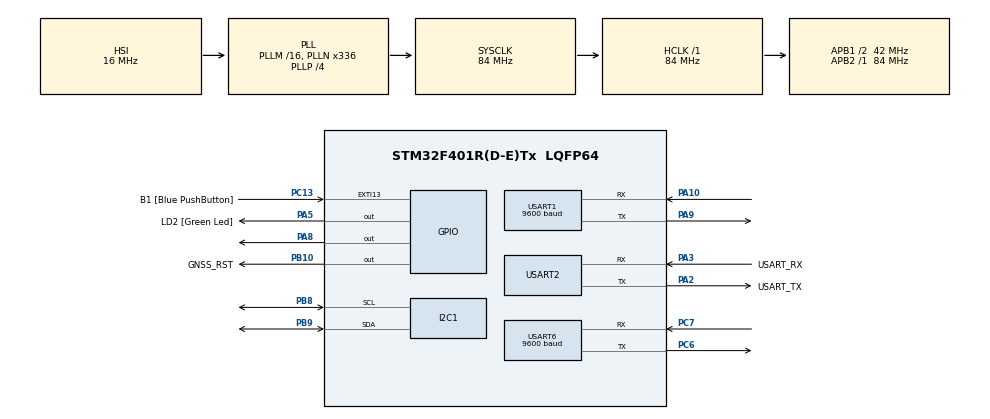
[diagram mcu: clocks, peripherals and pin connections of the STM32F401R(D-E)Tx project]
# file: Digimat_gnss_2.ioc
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Mcu.Family=STM32F4
Mcu.Name=STM32F401R(D-E)Tx
Mcu.Package=LQFP64
NVIC.EXTI15_10_IRQn=true\:0\:0\:false\:false\:true\:true\:true\:true
NVIC.PriorityGroup=NVIC_PRIORITYGROUP_0
PA10.Mode=Asynchronous
PA10.Signal=USART1_RX
PA13.GPIO_Label=TMS
PA13.Mode=Serial_Wire
PA13.Signal=SYS_JTMS-SWDIO
PA14.GPIO_Label=TCK
PA14.Mode=Serial_Wire
PA14.Signal=SYS_JTCK-SWCLK
PA2.GPIO_Label=USART_TX
PA2.GPIO_Mode=GPIO_MODE_AF_PP
PA2.GPIO_PuPd=GPIO_NOPULL
PA2.GPIO_Speed=GPIO_SPEED_FREQ_LOW
PA2.Mode=Asynchronous
PA2.Signal=USART2_TX
PA3.GPIO_Label=USART_RX
PA3.GPIO_Mode=GPIO_MODE_AF_PP
PA3.GPIO_PuPd=GPIO_NOPULL
PA3.GPIO_Speed=GPIO_SPEED_FREQ_LOW
PA3.Mode=Asynchronous
PA3.Signal=USART2_RX
PA5.GPIO_Label=LD2 [Green Led]
PA5.GPIO_Mode=GPIO_MODE_OUTPUT_PP
PA5.GPIO_PuPd=GPIO_NOPULL
PA5.GPIO_Speed=GPIO_SPEED_FREQ_LOW
PA5.Signal=GPIO_Output
PA8.GPIO_Speed=GPIO_SPEED_FREQ_MEDIUM
PA8.PinState=GPIO_PIN_SET
PA8.Signal=GPIO_Output
PA9.Mode=Asynchronous
PA9.Signal=USART1_TX
PB10.GPIO_Label=GNSS_RST
PB10.Signal=GPIO_Output
PB3.GPIO_Label=SWO
PB3.Signal=SYS_JTDO-SWO
PB8.GPIO_Pu=GPIO_PULLUP
PB8.Mode=I2C
PB8.Signal=I2C1_SCL
PB9.GPIO_Pu=GPIO_PULLUP
PB9.Mode=I2C
PB9.Signal=I2C1_SDA
PC13-ANTI_TAMP.GPIO_Label=B1 [Blue PushButton]
PC13-ANTI_TAMP.GPIO_ModeDefaultEXTI=GPIO_MODE_IT_FALLING
PC13-ANTI_TAMP.GPIO_PuPd=GPIO_NOPULL
PC13-ANTI_TAMP.Signal=GPXTI13
PC14-OSC32_IN.Mode=LSE-External-Oscillator
PC14-OSC32_IN.Signal=RCC_OSC32_IN
PC15-OSC32_OUT.Mode=LSE-External-Oscillator
PC15-OSC32_OUT.Signal=RCC_OSC32_OUT
PC6.Mode=Asynchronous
PC6.Signal=USART6_TX
PC7.Mode=Asynchronous
PC7.Signal=USART6_RX
PH0\ -\ OSC_IN.Mode=HSE-External-Clock-Source
PH0\ -\ OSC_IN.Signal=RCC_OSC_IN
PH1\ -\ OSC_OUT.Mode=HSE-External-Clock-Source
PH1\ -\ OSC_OUT.Signal=RCC_OSC_OUT
ProjectManager.HeapSize=0x200
ProjectManager.StackSize=0x400
ProjectManager.TargetToolchain=STM32CubeIDE
RCC.48MHZClocksFreq_Value=48000000
RCC.AHBFreq_Value=84000000
RCC.APB1CLKDivider=RCC_HCLK_DIV2
RCC.APB1Freq_Value=42000000
RCC.APB1TimFreq_Value=84000000
RCC.APB2Freq_Value=84000000
RCC.APB2TimFreq_Value=84000000
RCC.CortexFreq_Value=84000000
RCC.HCLKFreq_Value=84000000
RCC.HSE_VALUE=8000000
RCC.HSI_VALUE=16000000
RCC.PLLN=336
RCC.PLLP=RCC_PLLP_DIV4
RCC.PLLQ=7
RCC.SYSCLKFreq_VALUE=84000000
RCC.SYSCLKSource=RCC_SYSCLKSOURCE_PLLCLK
RCC.VCOOutputFreq_Value=336000000
USART1.BaudRate=9600
USART1.VirtualMode=VM_ASYNC
USART2.VirtualMode=VM_ASYNC
USART6.BaudRate=9600
USART6.VirtualMode=VM_ASYNC
board=NUCLEO-F401RE

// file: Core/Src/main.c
/* USER CODE BEGIN Header */
/**
 ******************************************************************************
 * @file           : main.c
 * @brief          : Main program body
 ******************************************************************************
 * @attention
 *
 * Copyright (c) 2023 STMicroelectronics.
 * All rights reserved.
 *
 * This software is licensed under terms that can be found in the LICENSE file
 * in the root directory of this software component.
 * If no LICENSE file comes with this software, it is provided AS-IS.
 *
 ******************************************************************************
 */
/* USER CODE END Header */
#include "main.h"

I2C_HandleTypeDef hi2c1;

UART_HandleTypeDef huart1;
UART_HandleTypeDef huart2;
UART_HandleTypeDef huart6;

/* USER CODE BEGIN PV */
static const char *gpgll_msg = "$PSTMNMEAREQUEST,100000,0\n\r";
uint8_t read_buf[180];
HAL_StatusTypeDef risp_i2c;

/* USER CODE END PV */

void SystemClock_Config(void);
static void MX_GPIO_Init(void);
static void MX_I2C1_Init(void);
static void MX_USART2_UART_Init(void);
static void MX_USART6_UART_Init(void);
static void MX_USART1_UART_Init(void);

/* USER CODE BEGIN 0 */
void Console_Write(uint8_t *string){
	HAL_UART_Transmit(&huart2, string, strlen((char *)string), 1000);
}
/* USER CODE END 0 */

int main(void)
{

  /* MCU Configuration--------------------------------------------------------*/

  /* Reset of all peripherals, Initializes the Flash interface and the Systick. */
  HAL_Init();

  /* Configure the system clock */
  SystemClock_Config();

  /* Initialize all configured peripherals */
  MX_GPIO_Init();
  MX_I2C1_Init();
  MX_USART2_UART_Init();
  MX_USART6_UART_Init();
  MX_USART1_UART_Init();

  /* Infinite loop */
	while (1)
	{

    /* USER CODE BEGIN 3 */
		HAL_GPIO_WritePin(GNSS_RST_GPIO_Port, GNSS_RST_Pin, 0);
		HAL_Delay(1);
		HAL_GPIO_WritePin(GNSS_RST_GPIO_Port, GNSS_RST_Pin, 1);
		//HAL_Delay(100);
		//HAL_I2C_DeInit(&hi2c1);
		//risp_i2c=HAL_I2C_Init(&hi2c1);
		//Console_Write("Sending commands...");
		//risp_i2c=HAL_I2C_Master_Transmit(&hi2c1, 0x3A << 1, (uint8_t*)gpgll_msg, strlen(gpgll_msg), 2000);
		//Console_Write(" got:... \r\n");
		//for (read_buf[180-1] = 0; read_buf[180-1] != 0xff;) {
		//risp_i2c=HAL_I2C_Master_Receive(&hi2c1, 0x3A << 1, read_buf, 180,2000);

		HAL_UART_Receive (&huart6, read_buf, 180, 1000);
		//HAL_Delay(1);

		for (int i = 0; i < 180; i++) {
			if (read_buf[i] == 'N') {
				// Trovato il carattere 'N'
				//found = 1;

				HAL_UART_Transmit(&huart2, read_buf + i - 11, 7, 1000);
				HAL_UART_Transmit(&huart2, "N,", 2, 1000);
				//Console_Write("\r\n");
				// break;
			}
			if (read_buf[i] == 'E') {
				// Trovato il carattere 'N'
				//found = 1;

				HAL_UART_Transmit(&huart2, read_buf + i - 11, 7, 1000);
				HAL_UART_Transmit(&huart2, "E", 1, 1000);
				//Console_Write("\r\n");
				break;
			}
		}

		//HAL_UART_Transmit(&huart2, read_buf, 180, 1000);
		//}
		//for (int i = 0; i < 180; ++i)
		//if (read_buf[i] != 0xff)
		//risp_i2c=HAL_UART_Transmit(&huart2, &read_buf[i], 1, 1000);
		HAL_UART_Transmit(&huart2, "\r\n", 4, 1000);
		//Console_Write("\r\n");
	}

  /* USER CODE END 3 */
}

void SystemClock_Config(void)
{
  RCC_OscInitTypeDef RCC_OscInitStruct = {0};
  RCC_ClkInitTypeDef RCC_ClkInitStruct = {0};

  /** Configure the main internal regulator output voltage
  */
  __HAL_RCC_PWR_CLK_ENABLE();
  __HAL_PWR_VOLTAGESCALING_CONFIG(PWR_REGULATOR_VOLTAGE_SCALE2);

  /** Initializes the RCC Oscillators according to the specified parameters
  * in the RCC_OscInitTypeDef structure.
  */
  RCC_OscInitStruct.OscillatorType = RCC_OSCILLATORTYPE_HSI;
  RCC_OscInitStruct.HSIState = RCC_HSI_ON;
  RCC_OscInitStruct.HSICalibrationValue = RCC_HSICALIBRATION_DEFAULT;
  RCC_OscInitStruct.PLL.PLLState = RCC_PLL_ON;
  RCC_OscInitStruct.PLL.PLLSource = RCC_PLLSOURCE_HSI;
  RCC_OscInitStruct.PLL.PLLM = 16;
  RCC_OscInitStruct.PLL.PLLN = 336;
  RCC_OscInitStruct.PLL.PLLP = RCC_PLLP_DIV4;
  RCC_OscInitStruct.PLL.PLLQ = 7;
  if (HAL_RCC_OscConfig(&RCC_OscInitStruct) != HAL_OK)
  {
    Error_Handler();
  }

  /** Initializes the CPU, AHB and APB buses clocks
  */
  RCC_ClkInitStruct.ClockType = RCC_CLOCKTYPE_HCLK|RCC_CLOCKTYPE_SYSCLK
                              |RCC_CLOCKTYPE_PCLK1|RCC_CLOCKTYPE_PCLK2;
  RCC_ClkInitStruct.SYSCLKSource = RCC_SYSCLKSOURCE_PLLCLK;
  RCC_ClkInitStruct.AHBCLKDivider = RCC_SYSCLK_DIV1;
  RCC_ClkInitStruct.APB1CLKDivider = RCC_HCLK_DIV2;
  RCC_ClkInitStruct.APB2CLKDivider = RCC_HCLK_DIV1;

  if (HAL_RCC_ClockConfig(&RCC_ClkInitStruct, FLASH_LATENCY_2) != HAL_OK)
  {
    Error_Handler();
  }
}

static void MX_I2C1_Init(void)
{

  hi2c1.Instance = I2C1;
  hi2c1.Init.ClockSpeed = 100000;
  hi2c1.Init.DutyCycle = I2C_DUTYCYCLE_2;
  hi2c1.Init.OwnAddress1 = 0;
  hi2c1.Init.AddressingMode = I2C_ADDRESSINGMODE_7BIT;
  hi2c1.Init.DualAddressMode = I2C_DUALADDRESS_DISABLE;
  hi2c1.Init.OwnAddress2 = 0;
  hi2c1.Init.GeneralCallMode = I2C_GENERALCALL_DISABLE;
  hi2c1.Init.NoStretchMode = I2C_NOSTRETCH_DISABLE;
  if (HAL_I2C_Init(&hi2c1) != HAL_OK)
  {
    Error_Handler();
  }

}

static void MX_USART1_UART_Init(void)
{

  huart1.Instance = USART1;
  huart1.Init.BaudRate = 9600;
  huart1.Init.WordLength = UART_WORDLENGTH_8B;
  huart1.Init.StopBits = UART_STOPBITS_1;
  huart1.Init.Parity = UART_PARITY_NONE;
  huart1.Init.Mode = UART_MODE_TX_RX;
  huart1.Init.HwFlowCtl = UART_HWCONTROL_NONE;
  huart1.Init.OverSampling = UART_OVERSAMPLING_16;
  if (HAL_UART_Init(&huart1) != HAL_OK)
  {
    Error_Handler();
  }

}

static void MX_USART2_UART_Init(void)
{

  huart2.Instance = USART2;
  huart2.Init.BaudRate = 115200;
  huart2.Init.WordLength = UART_WORDLENGTH_8B;
  huart2.Init.StopBits = UART_STOPBITS_1;
  huart2.Init.Parity = UART_PARITY_NONE;
  huart2.Init.Mode = UART_MODE_TX_RX;
  huart2.Init.HwFlowCtl = UART_HWCONTROL_NONE;
  huart2.Init.OverSampling = UART_OVERSAMPLING_16;
  if (HAL_UART_Init(&huart2) != HAL_OK)
  {
    Error_Handler();
  }

}

static void MX_USART6_UART_Init(void)
{

  huart6.Instance = USART6;
  huart6.Init.BaudRate = 9600;
  huart6.Init.WordLength = UART_WORDLENGTH_8B;
  huart6.Init.StopBits = UART_STOPBITS_1;
  huart6.Init.Parity = UART_PARITY_NONE;
  huart6.Init.Mode = UART_MODE_TX_RX;
  huart6.Init.HwFlowCtl = UART_HWCONTROL_NONE;
  huart6.Init.OverSampling = UART_OVERSAMPLING_16;
  if (HAL_UART_Init(&huart6) != HAL_OK)
  {
    Error_Handler();
  }

}

static void MX_GPIO_Init(void)
{
  GPIO_InitTypeDef GPIO_InitStruct = {0};

  /* GPIO Ports Clock Enable */
  __HAL_RCC_GPIOC_CLK_ENABLE();
  __HAL_RCC_GPIOH_CLK_ENABLE();
  __HAL_RCC_GPIOA_CLK_ENABLE();
  __HAL_RCC_GPIOB_CLK_ENABLE();

  /*Configure GPIO pin Output Level */
  HAL_GPIO_WritePin(LD2_GPIO_Port, LD2_Pin, GPIO_PIN_RESET);

  /*Configure GPIO pin Output Level */
  HAL_GPIO_WritePin(GNSS_RST_GPIO_Port, GNSS_RST_Pin, GPIO_PIN_RESET);

  /*Configure GPIO pin Output Level */
  HAL_GPIO_WritePin(GPIOA, GPIO_PIN_8, GPIO_PIN_SET);

  /*Configure GPIO pin : B1_Pin */
  GPIO_InitStruct.Pin = B1_Pin;
  GPIO_InitStruct.Mode = GPIO_MODE_IT_FALLING;
  GPIO_InitStruct.Pull = GPIO_NOPULL;
  HAL_GPIO_Init(B1_GPIO_Port, &GPIO_InitStruct);

  /*Configure GPIO pin : LD2_Pin */
  GPIO_InitStruct.Pin = LD2_Pin;
  GPIO_InitStruct.Mode = GPIO_MODE_OUTPUT_PP;
  GPIO_InitStruct.Pull = GPIO_NOPULL;
  GPIO_InitStruct.Speed = GPIO_SPEED_FREQ_LOW;
  HAL_GPIO_Init(LD2_GPIO_Port, &GPIO_InitStruct);

  /*Configure GPIO pin : GNSS_RST_Pin */
  GPIO_InitStruct.Pin = GNSS_RST_Pin;
  GPIO_InitStruct.Mode = GPIO_MODE_OUTPUT_PP;
  GPIO_InitStruct.Pull = GPIO_NOPULL;
  GPIO_InitStruct.Speed = GPIO_SPEED_FREQ_LOW;
  HAL_GPIO_Init(GNSS_RST_GPIO_Port, &GPIO_InitStruct);

  /*Configure GPIO pin : PA8 */
  GPIO_InitStruct.Pin = GPIO_PIN_8;
  GPIO_InitStruct.Mode = GPIO_MODE_OUTPUT_PP;
  GPIO_InitStruct.Pull = GPIO_NOPULL;
  GPIO_InitStruct.Speed = GPIO_SPEED_FREQ_MEDIUM;
  HAL_GPIO_Init(GPIOA, &GPIO_InitStruct);

  /* EXTI interrupt init*/
  HAL_NVIC_SetPriority(EXTI15_10_IRQn, 0, 0);
  HAL_NVIC_EnableIRQ(EXTI15_10_IRQn);

}

void Error_Handler(void)
{
	__disable_irq();
	while (1)
	{
	}
}
